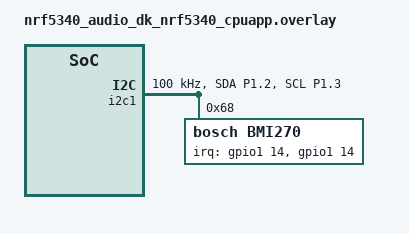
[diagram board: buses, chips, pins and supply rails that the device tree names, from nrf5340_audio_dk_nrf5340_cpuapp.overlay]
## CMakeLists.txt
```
cmake_minimum_required(VERSION 3.20.0)
find_package(Zephyr REQUIRED HINTS $ENV{ZEPHYR_BASE})

project(ORC_TIERESIAS_BETA)

# Avisa o compilador das nossas subpastas
add_subdirectory(src/services/bluetooth)
add_subdirectory(src/utils)
add_subdirectory(src/services/imu_sensor)
target_sources(app PRIVATE src/main.c src/services/sensor_maestro.c)

target_sources(app PRIVATE src/main.c)
```

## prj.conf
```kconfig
# ========================================================
# orc-tieresias - Projeto Zephyr RTOS (Application Core)
# ========================================================

# 1. Habilitar Periféricos de Hardware (Sensores)
CONFIG_GPIO=y
CONFIG_I2C=y
CONFIG_ADC=y

# 2. Habilitar Log para Depuração (Alta Velocidade via RTT)
CONFIG_LOG=y
CONFIG_LOG_DEFAULT_LEVEL=3
CONFIG_USE_SEGGER_RTT=y
CONFIG_LOG_BACKEND_RTT=y
CONFIG_LOG_BACKEND_UART=n

# 3. Barramento de Mensagens Interno (Zbus)
CONFIG_ZBUS=y
CONFIG_ZBUS_RUNTIME_OBSERVERS=y

# 4. Configurações Básicas do Bluetooth LE
CONFIG_BT=y
CONFIG_BT_PERIPHERAL=y
CONFIG_BT_DEVICE_NAME="orc-tieresias"
CONFIG_BT_DEVICE_APPEARANCE=833 
CONFIG_BT_GATT_CLIENT=n 

# 5. Expansão de Memória para as Threads
CONFIG_HEAP_MEM_POOL_SIZE=4096
CONFIG_MAIN_STACK_SIZE=2048
CONFIG_SYSTEM_WORKQUEUE_STACK_SIZE=2048

# ====================================================================
# 6. HARDWARE E SENSORES (I2C + BMI270 + Ponto Flutuante)
# ====================================================================
CONFIG_SENSOR=y
CONFIG_BMI270=y
CONFIG_BMI270_TRIGGER_GLOBAL_THREAD=y 

# Obrigatório para o Filtro de Madgwick rodar em Threads
CONFIG_FPU=y
CONFIG_FPU_SHARING=y

# ========================================================
# 7. OTIMIZAÇÃO DE RÁDIO E BUFFERS (Alta Performance)
# ========================================================
# Tamanho máximo de pacote GATT
CONFIG_BT_L2CAP_TX_MTU=247
CONFIG_BT_GATT_AUTO_UPDATE_MTU=y

# Tamanho do pacote aéreo (DLE)
CONFIG_BT_BUF_ACL_RX_SIZE=251
CONFIG_BT_BUF_ACL_TX_SIZE=251
CONFIG_BT_USER_DATA_LEN_UPDATE=y


# PHY 2M (Dobra a velocidade de transmissão no ar)
CONFIG_BT_USER_PHY_UPDATE=y


# --- CORREÇÃO DA FILA DE PACOTES (TX/RX) ---
CONFIG_BT_BUF_ACL_TX_COUNT=20
CONFIG_BT_L2CAP_TX_BUF_COUNT=20
CONFIG_BT_CONN_TX_MAX=20

# A fila de eventos RX DEVE ser maior que a TX para evitar deadlock e dreno de bateria
CONFIG_BT_BUF_EVT_RX_COUNT=24
# --- INTERVALOS DE CONEXÃO AGRESSIVOS ---
# Força o pedido de atualização dos parâmetros de conexão
CONFIG_BT_GAP_AUTO_UPDATE_CONN_PARAMS=y

# Intervalo Mínimo: 6 unidades (6 * 1.25ms = 7.5ms)
CONFIG_BT_PERIPHERAL_PREF_MIN_INT=6

# Intervalo Máximo: 12 unidades (12 * 1.25ms = 15ms)
CONFIG_BT_PERIPHERAL_PREF_MAX_INT=12

# Aumenta o limite de tempo antes de derrubar por falha
CONFIG_BT_PERIPHERAL_PREF_TIMEOUT=400
CONFIG_BT_GATT_CLIENT=y
```

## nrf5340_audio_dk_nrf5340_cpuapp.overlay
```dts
#include <zephyr/dt-bindings/gpio/gpio.h>
#include <zephyr/dt-bindings/i2c/i2c.h>

&pinctrl {
    i2c1_default: i2c1_default {
        group1 {
            psels = <NRF_PSEL(TWIM_SDA, 1, 2)>,
                    <NRF_PSEL(TWIM_SCL, 1, 3)>;
            bias-pull-up;
        };
    };

    i2c1_sleep: i2c1_sleep {
        group1 {
            psels = <NRF_PSEL(TWIM_SDA, 1, 2)>,
                    <NRF_PSEL(TWIM_SCL, 1, 3)>;
            low-power-enable;
        };
    };
};

&i2c1 {
    status = "okay";
    pinctrl-0 = <&i2c1_default>;
    pinctrl-1 = <&i2c1_sleep>;
    pinctrl-names = "default", "sleep";
    clock-frequency = <I2C_BITRATE_STANDARD>;
    zephyr,concat-buf-size = <257>;


    bmi270@68 {
        compatible = "bosch,bmi270";
        reg = <0x68>;

        /* Declaramos o P1.14 duas vezes para cobrir o INT1 e o INT2 */
        irq-gpios = <&gpio1 14 GPIO_ACTIVE_HIGH>,
                    <&gpio1 14 GPIO_ACTIVE_HIGH>;
    };
};
```

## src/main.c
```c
#include <zephyr/kernel.h>
#include <zephyr/logging/log.h>

LOG_MODULE_REGISTER(main_app, LOG_LEVEL_INF);

int main(void)
{
    LOG_INF("Iniciando o Sistema orc-tieresias...");

    // O ble_telemetry_init() ou ble_init() já cuida do rádio.
    // O sensor_maestro inicializa sozinho via K_THREAD_DEFINE.

    LOG_INF("Sistema rodando. Aguardando conexao Python...");
    
    while (1) {
        k_sleep(K_FOREVER);
    }
    
    return 0;
}
```
